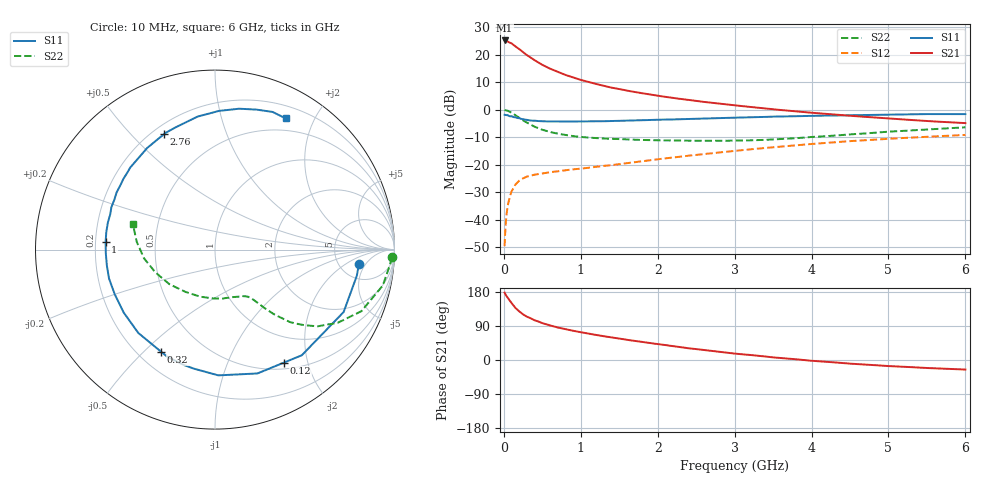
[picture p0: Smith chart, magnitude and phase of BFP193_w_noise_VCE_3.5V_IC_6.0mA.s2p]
! Infineon Technologies  Discrete & RF Semiconductors
! BFP193
! VCE = 3.5 V,  IC =  6.0 mA
! Common Emitter S-Parameters:  Jan 2016
# GHz  S  MA  R  50
!  f  S11  S21  S12  S22
! GHz  MAG  ANG  MAG  ANG  MAG  ANG  MAG  ANG
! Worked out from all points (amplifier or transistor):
!   210 points, 10 MHz to 6 GHz, reference 50 ohm
!   highest |S21| = 25.2 dB at 10 MHz (marker M1)
!   |S21| within 3 dB of that: start of sweep to 194.6 MHz
!   unconditionally stable (mu >= 1): 1.202 GHz to 3.5 GHz
!   at 185 MHz: K = 0.23, MSG = 24.3 dB, |S12| = -26.2 dB
!   at 1.52 GHz: K = 1.09, MAG = 11.7 dB, |S12| = -19.7 dB
!   at 6 GHz: K = 0.91, MSG = 2.1 dB, |S12| = -9.2 dB
!   lowest NFmin = 1.20 dB at 450 MHz
!   S11 on the Smith chart (normalised r, x): 10 MHz: 7.74, -3.48; 120 MHz: 0.59, -1.62; 320 MHz: 0.29, -0.57; 1 GHz: 0.24, +0.03; 2.76 GHz: 0.25, +0.62; 6 GHz: 0.35, +1.62
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0.01  0.8064 -5.6  18.13 177.6  0.0033 88.8  0.9858 -2.5
0.02  0.8034 -10.5  17.71 173.1  0.0067 82.7  0.9794 -4.8
0.05  0.7966 -25.9  17.33 164.1  0.0177 77.1  0.956 -12.1
0.1  0.7619 -50.6  16.06 150.1  0.0325 66.1  0.8849 -22.8
0.12  0.7375 -58.6  15.23 145.4  0.0367 61.7  0.8476 -25.8
0.15  0.7294 -71.1  14.2 137.5  0.0434 56.7  0.7964 -30.8
0.2  0.7009 -88.5  12.69 128.2  0.0512 50.5  0.7138 -36.8
0.26  0.6657 -105.3  10.83 119.1  0.0574 44.8  0.6261 -41.6
0.32  0.6436 -117.7  9.416 112.6  0.0617 41.2  0.5628 -44.6
0.4  0.6311 -132.6  7.927 104.8  0.0658 37.9  0.4905 -47.5
0.5  0.6179 -145.4  6.529 97.3  0.0695 36.0  0.4314 -49.6
0.6  0.6116 -156.0  5.571 91.2  0.0731 35.3  0.3931 -50.8
0.8  0.609 -171.5  4.285 81.4  0.0793 35.3  0.3461 -52.9
1  0.611 176.1  3.478 73.3  0.0846 37.1  0.3192 -55.2
1.02  0.6111 175.0  3.419 72.6  0.0852 37.3  0.3175 -55.5
1.4  0.6238 157.7  2.514 59.6  0.0982 40.0  0.2961 -62.0
2.02  0.6576 135.4  1.775 41.5  0.1264 42.8  0.2768 -76.3
2.76  0.7029 113.8  1.309 22.6  0.1647 41.5  0.2709 -98.8
3.1  0.7195 105.9  1.16 15.2  0.184 39.7  0.2752 -110.8
4.1  0.7766 86.7  0.858 -3.4  0.2437 31.9  0.3241 -146.4
5.1  0.816 72.3  0.68 -16.9  0.3007 21.3  0.4048 -175.8
6  0.8304 61.6  0.57 -25.2  0.3475 11.0  0.4782 162.9
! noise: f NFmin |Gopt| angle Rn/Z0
0.45  1.2  0.25  114  0.13
0.9  1.25  0.37  150  0.12
1.8  2  0.55  -158  0.12
